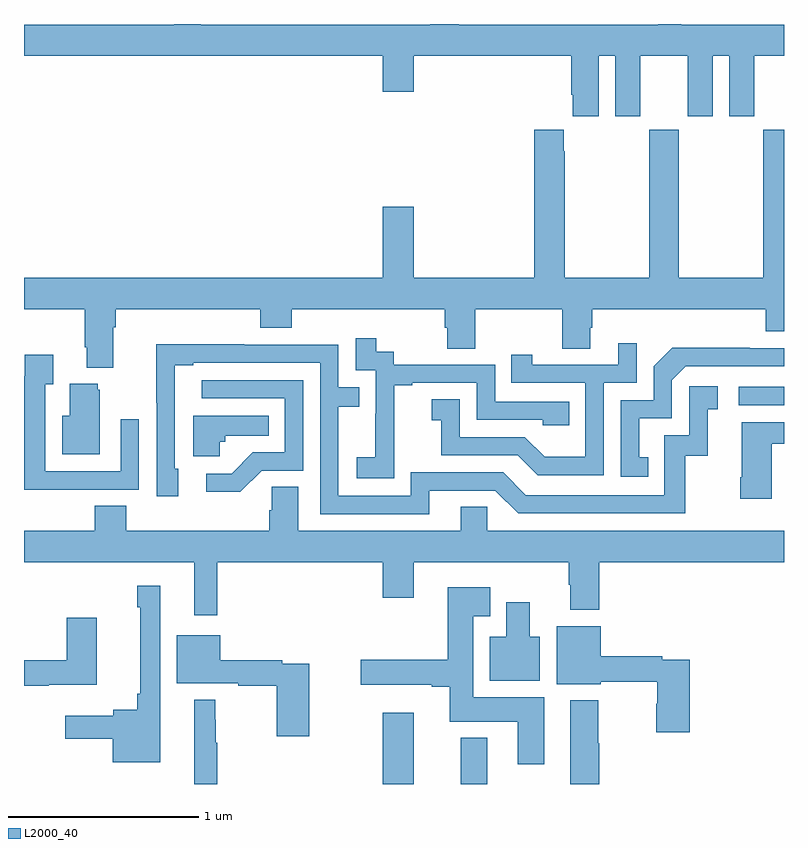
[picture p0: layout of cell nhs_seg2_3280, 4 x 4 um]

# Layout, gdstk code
import gdstk
lib = gdstk.Library(unit=1e-6, precision=1e-09)
def R(c, l, rs):  # rectangles x0, y0, x1, y1
    for r in rs: c.add(gdstk.rectangle(r[:2], r[2:], *l))
def P(c, l, *ps):  # polygons
    for p in ps: c.add(gdstk.Polygon(p, *l))
L2000_40 = (2000, 40)

nhs_seg2_3280 = lib.new_cell('nhs_seg2_3280')
R(nhs_seg2_3280, L2000_40, [(284.888,647.8,285.052,648.175), (285.299,647.8,285.439,648.043), (286.761,649.794,287,649.89)])
P(nhs_seg2_3280, L2000_40, [(286.024,651.632),(286.112,651.632),(286.112,651.315),(286.243,651.315),(286.243,651.632),(286.493,651.632),(286.493,651.315),(286.624,651.315),(286.624,651.632),(286.712,651.632),(286.712,651.315),(286.843,651.315),(286.843,651.632),(287,651.632),(287,651.796),(286.459,651.796),(286.459,651.8),(286.337,651.8),(286.337,651.796),(285.289,651.796),(285.289,651.8),(285.137,651.8),(285.137,651.796),(283.93,651.796),(283.93,651.8),(283.79,651.8),(283.79,651.796),(283,651.796),(283,651.632),(284.888,651.632),(284.888,651.444),(285.052,651.444),(285.052,651.632),(285.881,651.632),(285.881,651.427),(285.887,651.427),(285.887,651.315),(286.024,651.315)],
  [(283.471,650.204),(283.484,650.204),(283.484,650.3),(284.243,650.3),(284.243,650.201),(284.408,650.201),(284.408,650.3),(285.215,650.3),(285.215,650.202),(285.227,650.202),(285.227,650.092),(285.375,650.092),(285.375,650.3),(285.832,650.3),(285.832,650.092),(285.979,650.092),(285.979,650.202),(285.992,650.202),(285.992,650.3),(286.904,650.3),(286.904,650.183),(287,650.183),(287,651.244),(286.891,651.244),(286.891,650.464),(286.446,650.464),(286.446,651.244),(286.291,651.244),(286.291,650.464),(285.846,650.464),(285.846,651.131),(285.841,651.131),(285.841,651.244),(285.686,651.244),(285.686,650.464),(285.052,650.464),(285.052,650.839),(284.888,650.839),(284.888,650.464),(283,650.464),(283,650.3),(283.319,650.3),(283.319,650.098),(283.331,650.098),(283.331,649.991),(283.471,649.991)],
  [(284.949,649.615),(284.948,649.615),(284.948,649.899),(285.043,649.899),(285.043,649.911),(285.384,649.911),(285.384,649.716),(285.729,649.716),(285.729,649.689),(285.869,649.689),(285.869,649.812),(285.48,649.812),(285.48,650.007),(284.946,650.007),(284.946,650.076),(284.854,650.076),(284.854,650.146),(284.745,650.146),(284.745,649.977),(284.85,649.977),(284.85,649.748),(284.849,649.748),(284.849,649.519),(284.751,649.519),(284.751,649.409),(284.949,649.409)],
  [(286.05,649.911),(286.224,649.911),(286.224,650.119),(286.127,650.119),(286.127,650.007),(285.676,650.007),(285.676,650.059),(285.565,650.059),(285.565,649.911),(285.954,649.911),(285.954,649.522),(285.74,649.522),(285.636,649.626),(285.294,649.626),(285.294,649.825),(285.147,649.825),(285.147,649.715),(285.196,649.715),(285.196,649.53),(285.599,649.53),(285.704,649.425),(286.05,649.425)],
  [(285.133,649.344),(285.48,649.344),(285.6,649.224),(286.48,649.224),(286.48,649.527),(286.598,649.527),(286.598,649.773),(286.651,649.773),(286.651,649.894),(286.5,649.894),(286.5,649.635),(286.371,649.635),(286.371,649.32),(285.642,649.32),(285.522,649.44),(285.036,649.44),(285.036,649.317),(284.655,649.317),(284.655,649.786),(284.765,649.786),(284.765,649.887),(284.655,649.887),(284.655,650.112),(284.159,650.112),(284.159,650.114),(283.696,650.114),(283.696,649.807),(283.698,649.807),(283.698,649.314),(283.813,649.314),(283.813,649.458),(283.794,649.458),(283.794,650.004),(283.891,650.004),(283.891,650.016),(284.559,650.016),(284.559,649.221),(285.133,649.221)],
  [(286.286,649.521),(286.237,649.521),(286.237,649.725),(286.41,649.725),(286.41,649.926),(286.482,649.998),(287,649.998),(287,650.094),(286.82,650.094),(286.82,650.096),(286.412,650.096),(286.314,649.998),(286.314,649.821),(286.14,649.821),(286.14,649.416),(286.286,649.416)],
  [(283.289,649.35),(283.605,649.35),(283.605,649.72),(283.509,649.72),(283.509,649.446),(283.113,649.446),(283.113,649.903),(283.153,649.903),(283.153,650.059),(283.005,650.059),(283.005,649.946),(283,649.946),(283,649.349),(283.289,649.349)],
  [(284.25,649.449),(284.469,649.449),(284.469,649.926),(283.935,649.926),(283.935,649.83),(284.373,649.83),(284.373,649.545),(284.204,649.545),(284.093,649.434),(283.959,649.434),(283.959,649.337),(284.137,649.337)],
  [(283.399,649.875),(283.388,649.875),(283.388,649.906),(283.241,649.906),(283.241,649.738),(283.202,649.738),(283.202,649.535),(283.399,649.535)],
  [(284.031,649.602),(284.058,649.602),(284.058,649.634),(284.288,649.634),(284.288,649.738),(283.892,649.738),(283.892,649.526),(284.031,649.526)],
  [(286.936,649.591),(287,649.591),(287,649.705),(286.778,649.705),(286.778,649.414),(286.771,649.414),(286.771,649.302),(286.936,649.302)],
  [(284.017,648.968),(284.888,648.968),(284.888,648.78),(285.052,648.78),(285.052,648.968),(285.868,648.968),(285.868,648.848),(285.875,648.848),(285.875,648.716),(286.028,648.716),(286.028,648.968),(287,648.968),(287,649.132),(285.438,649.132),(285.438,649.259),(285.299,649.259),(285.299,649.132),(284.443,649.132),(284.443,649.364),(284.304,649.364),(284.304,649.241),(284.291,649.241),(284.291,649.132),(283.538,649.132),(283.538,649.265),(283.373,649.265),(283.373,649.132),(283,649.132),(283,648.968),(283.895,648.968),(283.895,648.687),(284.017,648.687)],
  [(283.717,648.844),(283.596,648.844),(283.596,648.731),(283.613,648.731),(283.613,648.274),(283.596,648.274),(283.596,648.191),(283.47,648.191),(283.47,648.16),(283.218,648.16),(283.218,648.038),(283.466,648.038),(283.466,647.915),(283.717,647.915)],
  [(285.739,648.256),(285.364,648.256),(285.364,648.683),(285.454,648.683),(285.454,648.835),(285.23,648.835),(285.23,648.453),(284.772,648.453),(284.772,648.323),(285.146,648.323),(285.146,648.311),(285.242,648.311),(285.242,648.128),(285.599,648.128),(285.599,647.904),(285.739,647.904)],
  [(285.715,648.574),(285.661,648.574),(285.661,648.757),(285.539,648.757),(285.539,648.574),(285.452,648.574),(285.452,648.344),(285.715,648.344)],
  [(283.13,648.323),(283.384,648.323),(283.384,648.676),(283.226,648.676),(283.226,648.452),(283,648.452),(283,648.316),(283.13,648.316)],
  [(286.505,648.453),(286.358,648.453),(286.358,648.473),(286.036,648.473),(286.036,648.631),(285.803,648.631),(285.803,648.326),(286.036,648.326),(286.036,648.337),(286.334,648.337),(286.334,648.222),(286.327,648.222),(286.327,648.072),(286.505,648.072)],
  [(284.502,648.432),(284.36,648.432),(284.36,648.452),(284.032,648.452),(284.032,648.583),(283.805,648.583),(283.805,648.329),(284.128,648.329),(284.128,648.316),(284.329,648.316),(284.329,648.051),(284.502,648.051)],
  [(286.028,648.015),(286.023,648.015),(286.023,648.241),(285.875,648.241),(285.875,647.8),(286.028,647.8)],
  [(284.009,648.017),(284.009,648.137),(284.006,648.137),(284.006,648.244),(283.895,648.244),(283.895,647.8),(284.017,647.8),(284.017,648.017)])

lib.write_gds('nhs_seg2_3280.gds')
